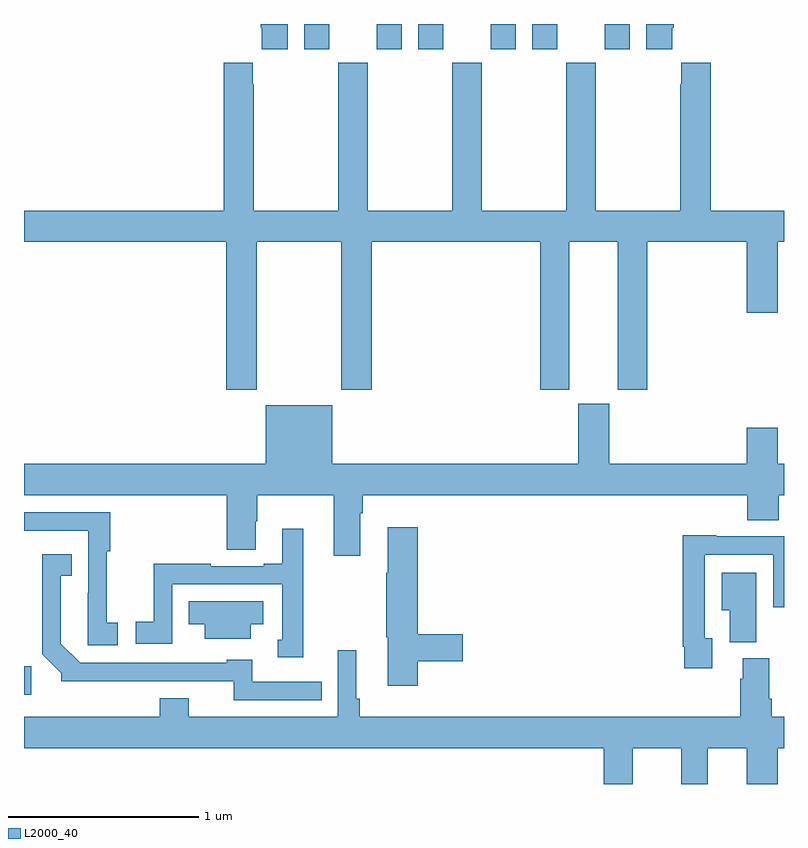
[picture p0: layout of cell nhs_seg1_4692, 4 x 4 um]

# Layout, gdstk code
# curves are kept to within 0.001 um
import gdstk
lib = gdstk.Library(unit=1e-6, precision=1e-09)
def R(c, l, rs):  # rectangles x0, y0, x1, y1
    for r in rs: c.add(gdstk.rectangle(r[:2], r[2:], *l))
def P(c, l, *ps):  # polygons
    for p in ps: c.add(gdstk.Polygon(p, *l))
L2000_40 = (2000, 40)

nhs_seg1_4692 = lib.new_cell('nhs_seg1_4692')
R(nhs_seg1_4692, L2000_40, [(365,562.668,365.039,562.819), (366.476,566.067,366.607,566.199), (366.857,566.067,366.988,566.199), (367.076,566.067,367.207,566.199), (367.457,566.067,367.588,566.199), (367.676,566.067,367.807,566.199), (368.057,566.067,368.188,566.199)])
P(nhs_seg1_4692, L2000_40, [(366.388,566.199),(366.245,566.199),(366.245,566.179),(366.251,566.179),(366.251,566.067),(366.388,566.067)],
  [(368.413,566.179),(368.42,566.179),(368.42,566.199),(368.276,566.199),(368.276,566.067),(368.413,566.067)],
  [(366.065,564.273),(366.225,564.273),(366.225,565.052),(366.67,565.052),(366.67,564.273),(366.83,564.273),(366.83,565.052),(367.718,565.052),(367.718,564.273),(367.87,564.273),(367.87,565.052),(368.126,565.052),(368.126,564.273),(368.279,564.273),(368.279,565.052),(368.804,565.052),(368.804,564.678),(368.968,564.678),(368.968,565.052),(369,565.052),(369,565.216),(368.615,565.216),(368.615,565.996),(368.459,565.996),(368.459,565.883),(368.455,565.883),(368.455,565.216),(368.01,565.216),(368.01,565.996),(367.855,565.996),(367.855,565.216),(367.41,565.216),(367.41,565.996),(367.255,565.996),(367.255,565.216),(366.81,565.216),(366.81,565.996),(366.655,565.996),(366.655,565.216),(366.21,565.216),(366.21,565.883),(366.205,565.883),(366.205,565.996),(366.05,565.996),(366.05,565.216),(365,565.216),(365,565.052),(366.065,565.052)],
  [(366.272,564.193),(366.272,563.884),(365,563.884),(365,563.72),(366.068,563.72),(366.068,563.431),(366.22,563.431),(366.22,563.582),(366.228,563.582),(366.228,563.72),(366.629,563.72),(366.629,563.4),(366.769,563.4),(366.769,563.624),(366.782,563.624),(366.782,563.72),(368.807,563.72),(368.807,563.587),(368.972,563.587),(368.972,563.72),(369,563.72),(369,563.884),(368.968,563.884),(368.968,564.073),(368.804,564.073),(368.804,563.884),(368.08,563.884),(368.08,564.201),(367.916,564.201),(367.916,563.884),(366.622,563.884),(366.622,564.193)],
  [(365.494,563.049),(365.436,563.049),(365.436,563.425),(365.453,563.425),(365.453,563.628),(365,563.628),(365,563.532),(365.337,563.532),(365.337,563.204),(365.336,563.204),(365.336,562.929),(365.494,562.929)],
  [(367.073,562.846),(367.309,562.846),(367.309,562.988),(367.073,562.988),(367.073,563.551),(366.914,563.551),(366.914,563.312),(366.907,563.312),(366.907,562.971),(366.914,562.971),(366.914,562.716),(367.073,562.716)],
  [(366.469,563.542),(366.359,563.542),(366.359,563.359),(366.263,563.359),(366.263,563.346),(365.984,563.346),(365.984,563.359),(365.683,563.359),(365.683,563.054),(365.589,563.054),(365.589,562.938),(365.781,562.938),(365.781,563.25),(366.36,563.25),(366.36,562.959),(366.335,562.959),(366.335,562.865),(366.469,562.865)],
  [(368.623,562.965),(368.583,562.965),(368.583,563.406),(368.943,563.406),(368.943,563.13),(369,563.13),(369,563.502),(368.643,563.502),(368.643,563.509),(368.467,563.509),(368.467,562.921),(368.475,562.921),(368.475,562.809),(368.623,562.809)],
  [(366.566,562.737),(366.202,562.737),(366.202,562.852),(366.066,562.852),(366.066,562.836),(365.295,562.836),(365.194,562.937),(365.194,563.294),(365.252,563.294),(365.252,563.407),(365.097,563.407),(365.097,562.882),(365.196,562.783),(365.196,562.739),(366.103,562.74),(366.103,562.641),(366.566,562.641)],
  [(368.854,563.311),(368.672,563.311),(368.672,563.114),(368.714,563.114),(368.714,562.945),(368.854,562.945)],
  [(366.193,563.039),(366.259,563.039),(366.259,563.161),(365.866,563.161),(365.866,563.039),(365.951,563.039),(365.951,562.964),(366.193,562.964)],
  [(368.203,562.388),(368.459,562.388),(368.459,562.199),(368.599,562.199),(368.599,562.388),(368.804,562.388),(368.804,562.199),(368.968,562.199),(368.968,562.388),(369,562.388),(369,562.552),(368.936,562.552),(368.936,562.648),(368.923,562.648),(368.923,562.86),(368.783,562.86),(368.783,562.754),(368.771,562.754),(368.771,562.552),(366.767,562.552),(366.767,562.648),(366.748,562.648),(366.748,562.903),(366.651,562.903),(366.651,562.552),(365.866,562.552),(365.866,562.651),(365.714,562.651),(365.714,562.552),(365,562.552),(365,562.388),(368.051,562.388),(368.051,562.199),(368.203,562.199)])

lib.write_gds('nhs_seg1_4692.gds')
